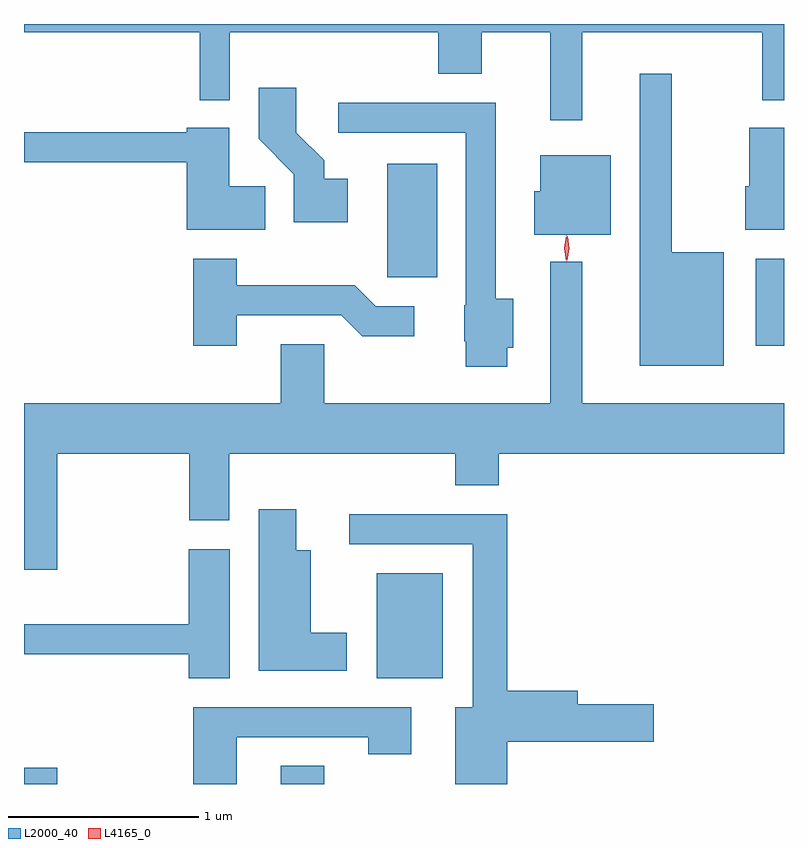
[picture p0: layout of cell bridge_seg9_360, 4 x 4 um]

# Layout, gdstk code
import gdstk
lib = gdstk.Library(unit=1e-6, precision=1e-09)
def R(c, l, rs):  # rectangles x0, y0, x1, y1
    for r in rs: c.add(gdstk.rectangle(r[:2], r[2:], *l))
def P(c, l, *ps):  # polygons
    for p in ps: c.add(gdstk.Polygon(p, *l))
L2000_40 = (2000, 40)
L4165_0 = (4165, 0)

bridge_seg9_360 = lib.new_cell('bridge_seg9_360')
R(bridge_seg9_360, L2000_40, [(1014.37,1974.539,1014.544,1974.624), (1015.721,1974.539,1015.949,1974.634), (1016.226,1975.096,1016.574,1975.649), (1018.221,1976.846,1018.37,1977.304), (1016.281,1977.206,1016.544,1977.804)])
P(bridge_seg9_360, L2000_40, [(1017.309,1978.496),(1018.256,1978.496),(1018.256,1978.138),(1018.37,1978.138),(1018.37,1978.539),(1014.37,1978.539),(1014.37,1978.496),(1015.296,1978.496),(1015.296,1978.138),(1015.454,1978.138),(1015.454,1978.496),(1016.551,1978.496),(1016.551,1978.276),(1016.779,1978.276),(1016.779,1978.496),(1017.141,1978.496),(1017.141,1978.033),(1017.309,1978.033)],
  [(1018.054,1977.339),(1017.779,1977.339),(1017.779,1978.278),(1017.611,1978.278),(1017.611,1976.741),(1018.054,1976.741)],
  [(1016.074,1977.724),(1015.949,1977.724),(1015.949,1977.822),(1015.804,1977.967),(1015.804,1978.204),(1015.606,1978.204),(1015.606,1977.934),(1015.791,1977.749),(1015.791,1977.496),(1016.074,1977.496)],
  [(1016.914,1976.836),(1016.944,1976.836),(1016.944,1977.094),(1016.854,1977.094),(1016.854,1978.124),(1016.023,1978.124),(1016.023,1977.966),(1016.696,1977.966),(1016.696,1977.06),(1016.686,1977.06),(1016.686,1976.87),(1016.696,1976.87),(1016.696,1976.736),(1016.914,1976.736)],
  [(1015.639,1977.684),(1015.449,1977.684),(1015.449,1977.994),(1015.226,1977.994),(1015.226,1977.969),(1014.37,1977.969),(1014.37,1977.811),(1015.226,1977.811),(1015.226,1977.456),(1015.639,1977.456)],
  [(1018.37,1977.994),(1018.186,1977.994),(1018.186,1977.684),(1018.166,1977.684),(1018.166,1977.456),(1018.37,1977.456)],
  [(1017.459,1977.849),(1017.086,1977.849),(1017.086,1977.659),(1017.056,1977.659),(1017.056,1977.431),(1017.459,1977.431)],
  [(1015.489,1977.006),(1016.039,1977.006),(1016.149,1976.896),(1016.423,1976.896),(1016.423,1977.054),(1016.222,1977.054),(1016.112,1977.164),(1015.489,1977.164),(1015.489,1977.304),(1015.261,1977.304),(1015.261,1976.846),(1015.489,1976.846)],
  [(1014.544,1976.276),(1015.241,1976.276),(1015.241,1975.926),(1015.449,1975.926),(1015.449,1976.276),(1016.641,1976.276),(1016.641,1976.111),(1016.869,1976.111),(1016.869,1976.276),(1018.37,1976.276),(1018.37,1976.544),(1017.309,1976.544),(1017.309,1977.288),(1017.141,1977.288),(1017.141,1976.544),(1015.949,1976.544),(1015.949,1976.854),(1015.721,1976.854),(1015.721,1976.544),(1014.37,1976.544),(1014.37,1975.666),(1014.544,1975.666)],
  [(1016.069,1975.334),(1015.879,1975.334),(1015.879,1975.769),(1015.804,1975.769),(1015.804,1975.984),(1015.606,1975.984),(1015.606,1975.136),(1016.069,1975.136)],
  [(1016.914,1974.761),(1017.684,1974.761),(1017.684,1974.959),(1017.284,1974.959),(1017.284,1975.029),(1016.914,1975.029),(1016.914,1975.959),(1016.083,1975.959),(1016.083,1975.801),(1016.731,1975.801),(1016.731,1974.944),(1016.641,1974.944),(1016.641,1974.539),(1016.914,1974.539)],
  [(1015.454,1975.774),(1015.236,1975.774),(1015.236,1975.379),(1014.37,1975.379),(1014.37,1975.221),(1015.236,1975.221),(1015.236,1975.096),(1015.454,1975.096)],
  [(1015.489,1974.786),(1016.181,1974.786),(1016.181,1974.696),(1016.409,1974.696),(1016.409,1974.944),(1015.261,1974.944),(1015.261,1974.539),(1015.489,1974.539)])
P(bridge_seg9_360, L4165_0, [(1017.224,1977.289),(1017.224,1977.29),(1017.214,1977.358),(1017.224,1977.425),(1017.224,1977.426),(1017.224,1977.425),(1017.234,1977.358),(1017.224,1977.29)],
  [(1017.228,1977.293),(1017.228,1977.293),(1017.219,1977.357),(1017.23,1977.421),(1017.23,1977.421),(1017.231,1977.421),(1017.239,1977.357),(1017.228,1977.293)])

lib.write_gds('bridge_seg9_360.gds')
